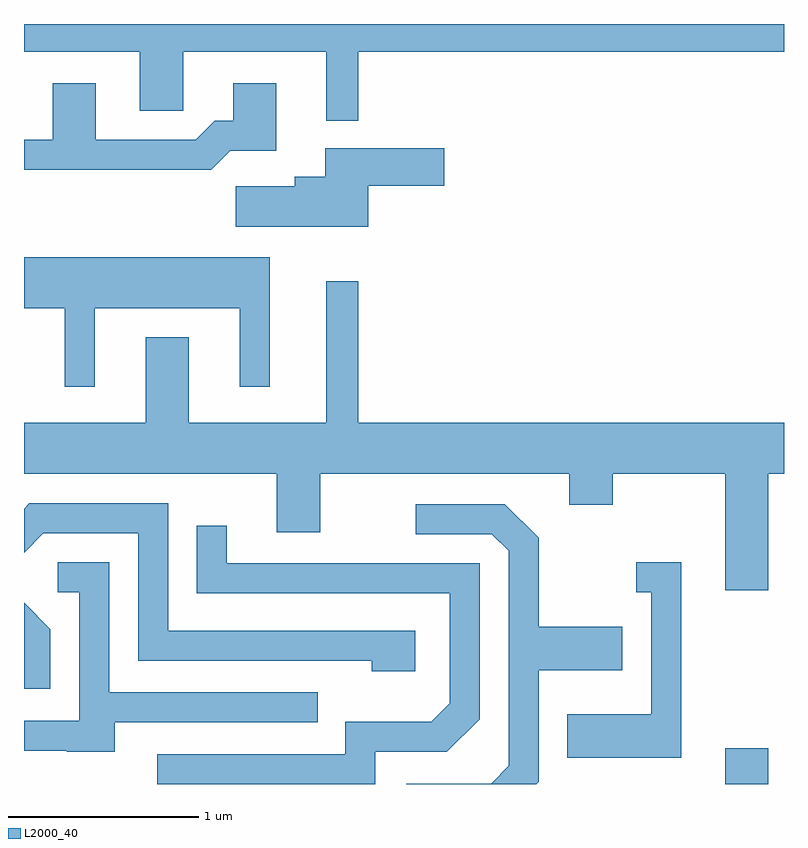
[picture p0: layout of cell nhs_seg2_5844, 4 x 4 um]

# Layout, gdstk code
import gdstk
lib = gdstk.Library(unit=1e-6, precision=1e-09)
def R(c, l, rs):  # rectangles x0, y0, x1, y1
    for r in rs: c.add(gdstk.rectangle(r[:2], r[2:], *l))
def P(c, l, *ps):  # polygons
    for p in ps: c.add(gdstk.Polygon(p, *l))
L2000_40 = (2000, 40)

nhs_seg2_5844 = lib.new_cell('nhs_seg2_5844')
R(nhs_seg2_5844, L2000_40, [(361.301,1037.802,361.529,1037.989)])
P(nhs_seg2_5844, L2000_40, [(359.369,1041.656),(361.611,1041.656),(361.611,1041.802),(357.611,1041.802),(357.611,1041.656),(358.221,1041.656),(358.221,1041.346),(358.449,1041.346),(358.449,1041.656),(359.201,1041.656),(359.201,1041.293),(359.369,1041.293)],
  [(358.697,1041.136),(358.939,1041.136),(358.939,1041.489),(358.711,1041.489),(358.711,1041.294),(358.614,1041.294),(358.514,1041.194),(357.989,1041.194),(357.989,1041.489),(357.761,1041.489),(357.761,1041.194),(357.611,1041.194),(357.611,1041.036),(358.597,1041.036)],
  [(359.424,1040.951),(359.824,1040.951),(359.824,1041.149),(359.196,1041.149),(359.196,1040.999),(359.036,1040.999),(359.036,1040.949),(358.726,1040.949),(358.726,1040.736),(359.424,1040.736)],
  [(357.984,1040.306),(358.746,1040.306),(358.746,1039.892),(358.904,1039.892),(358.904,1040.574),(357.611,1040.574),(357.611,1040.306),(357.826,1040.306),(357.826,1039.892),(357.984,1039.892)],
  [(361.529,1039.436),(361.611,1039.436),(361.611,1039.704),(359.369,1039.704),(359.369,1040.448),(359.201,1040.448),(359.201,1039.704),(358.479,1039.704),(358.479,1040.154),(358.251,1040.154),(358.251,1039.704),(357.611,1039.704),(357.611,1039.436),(358.941,1039.436),(358.941,1039.126),(359.169,1039.126),(359.169,1039.436),(360.481,1039.436),(360.481,1039.271),(360.709,1039.271),(360.709,1039.436),(361.301,1039.436),(361.301,1038.821),(361.529,1038.821)],
  [(359.669,1038.609),(358.369,1038.609),(358.369,1039.279),(357.639,1039.279),(357.611,1039.251),(357.611,1039.02),(357.712,1039.121),(358.211,1039.121),(358.211,1038.451),(359.441,1038.451),(359.441,1038.396),(359.669,1038.396)],
  [(360.319,1037.814),(360.319,1038.401),(360.759,1038.401),(360.759,1038.629),(360.319,1038.629),(360.319,1039.097),(360.142,1039.274),(359.673,1039.274),(359.673,1039.116),(360.074,1039.116),(360.161,1039.029),(360.161,1037.897),(360.069,1037.804),(359.623,1037.804),(359.623,1037.802),(360.307,1037.802)],
  [(359.459,1037.971),(359.837,1037.971),(360.009,1038.144),(360.009,1038.964),(358.679,1038.964),(358.679,1039.162),(358.521,1039.162),(358.521,1038.806),(359.851,1038.806),(359.851,1038.227),(359.754,1038.129),(359.301,1038.129),(359.301,1037.959),(358.311,1037.959),(358.311,1037.802),(359.459,1037.802)],
  [(361.069,1038.969),(360.833,1038.969),(360.833,1038.811),(360.911,1038.811),(360.911,1038.169),(360.471,1038.169),(360.471,1037.941),(361.069,1037.941)],
  [(358.089,1038.126),(359.158,1038.126),(359.158,1038.284),(358.059,1038.284),(358.059,1038.969),(357.788,1038.969),(357.788,1038.811),(357.901,1038.811),(357.901,1038.134),(357.611,1038.134),(357.611,1037.976),(357.835,1037.976),(357.835,1037.971),(358.089,1037.971)],
  [(357.749,1038.617),(357.611,1038.755),(357.611,1038.303),(357.749,1038.303)])

lib.write_gds('nhs_seg2_5844.gds')
